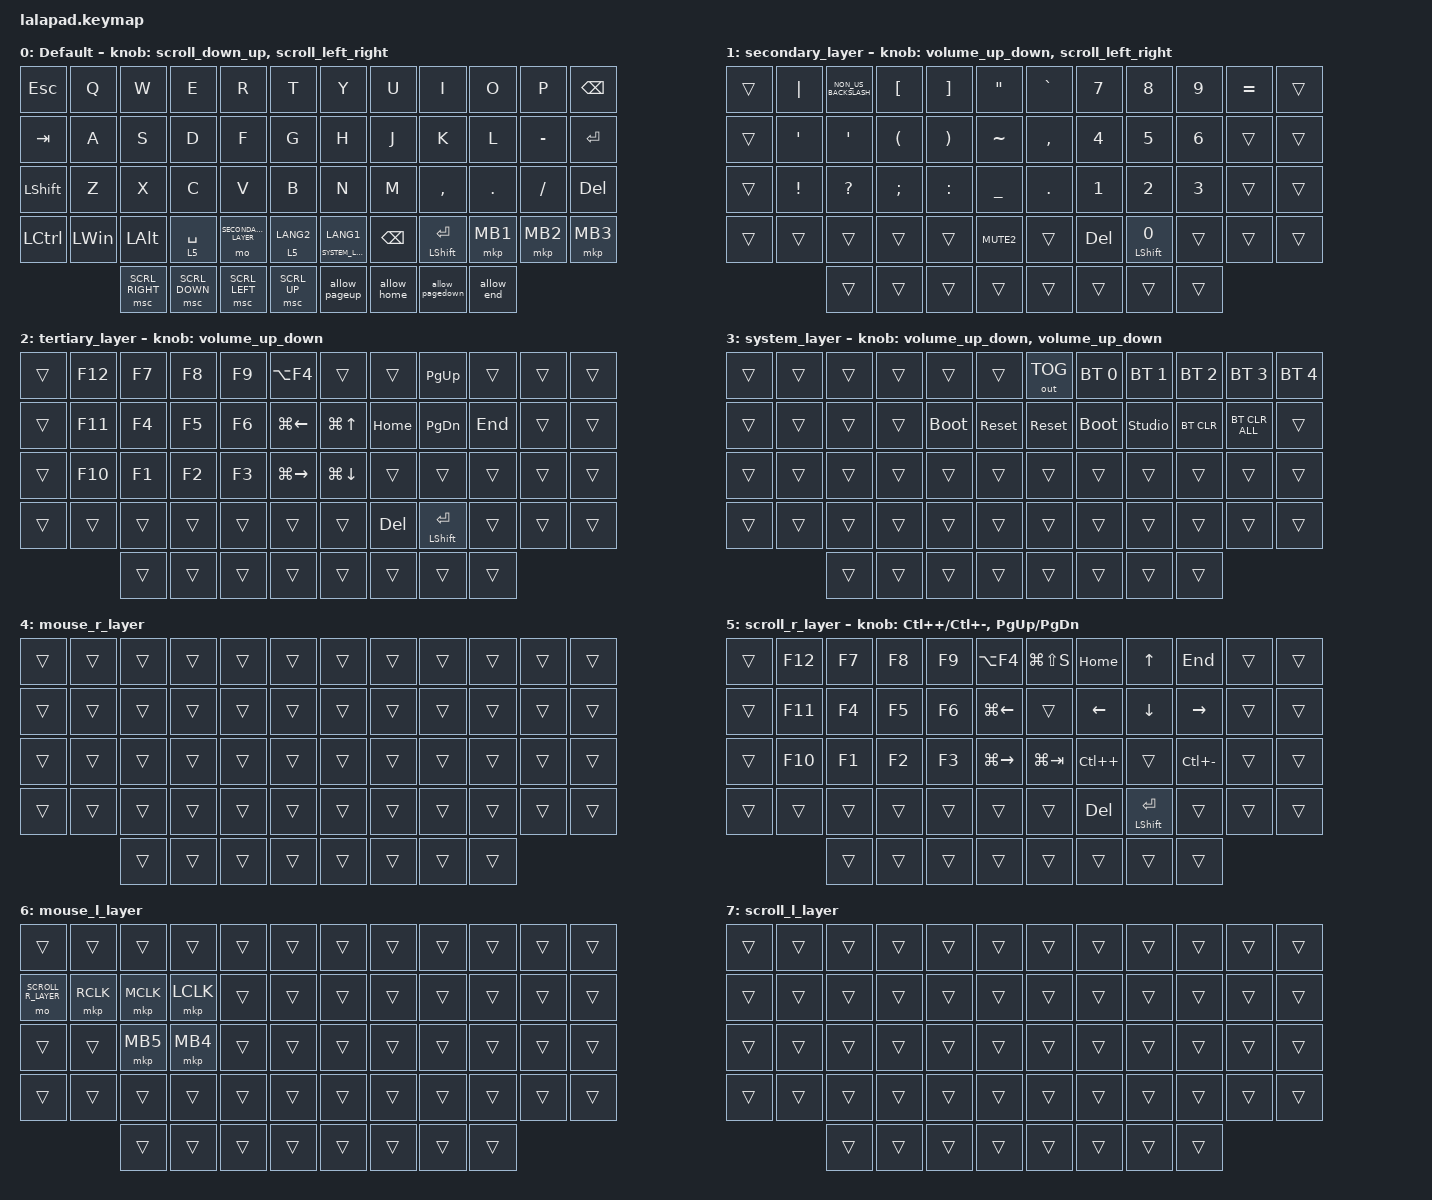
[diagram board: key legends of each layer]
#include <input/processors.dtsi>
#include <behaviors.dtsi>
#include <dt-bindings/zmk/bt.h>
#include <dt-bindings/zmk/keys.h>
#include <dt-bindings/zmk/outputs.h>
#include <dt-bindings/zmk/pointing.h>

#define DEFAULT_LAYER   0
#define SECONDARY_LAYER 1
#define TERTIARY_LAYER  2
#define SYSTEM_LAYER    3
#define MOUSE_R_LAYER   4
#define SCROLL_R_LAYER  5
#define MOUSE_L_LAYER   6
#define SCROLL_L_LAYER  7

// Mouse Scroll Value

#define ZMK_POINTING_DEFAULT_SCRL_VAL 100

// cirque trackpad input&layer control

&glidepoint_listener_R {
    input-processors =
        <&zip_xy_transform (INPUT_TRANSFORM_XY_SWAP | INPUT_TRANSFORM_X_INVERT | INPUT_TRANSFORM_Y_INVERT)>,
        <&zip_xy_scaler 3 2>,
        <&zip_temp_layer MOUSE_R_LAYER 500>;

    lowspeedmode {
        layers = <SECONDARY_LAYER>;
        input-processors =
            <&zip_xy_transform (INPUT_TRANSFORM_XY_SWAP | INPUT_TRANSFORM_X_INVERT | INPUT_TRANSFORM_Y_INVERT)>,
            <&zip_xy_scaler 3 5>,
            <&zip_temp_layer MOUSE_R_LAYER 500>;
    };

    scroller {
        layers = <SCROLL_R_LAYER>;
        input-processors =
            <&zip_xy_to_scroll_mapper>,
            <&zip_scroll_transform (INPUT_TRANSFORM_XY_SWAP | INPUT_TRANSFORM_Y_INVERT)>,
            <&zip_scroll_scaler 1 8>;
    };
};

&glidepoint_listener_L {
    input-processors =
        <&zip_xy_transform (INPUT_TRANSFORM_XY_SWAP | INPUT_TRANSFORM_X_INVERT | INPUT_TRANSFORM_Y_INVERT)>,
        <&zip_xy_scaler 3 2>,
        <&zip_temp_layer MOUSE_L_LAYER 500>;

    lowspeedmode {
        layers = <SECONDARY_LAYER>;
        input-processors =
            <&zip_xy_transform (INPUT_TRANSFORM_XY_SWAP | INPUT_TRANSFORM_X_INVERT | INPUT_TRANSFORM_Y_INVERT)>,
            <&zip_xy_scaler 3 4>,
            <&zip_temp_layer MOUSE_L_LAYER 500>;
    };

    scroller {
        layers = <SCROLL_L_LAYER>;
        input-processors =
            <&zip_xy_to_scroll_mapper>,
            <&zip_scroll_transform (INPUT_TRANSFORM_XY_SWAP | INPUT_TRANSFORM_Y_INVERT)>,
            <&zip_scroll_scaler 1 6>;
    };
};

/ {
    behaviors {
        // Encoder to Mouse Scroll

        scroll_up_down: behavior_sensor_rotate_mouse_wheel_up_down {
            compatible = "zmk,behavior-sensor-rotate";
            #sensor-binding-cells = <0>;
            bindings = <&msc SCRL_UP>, <&msc SCRL_DOWN>;

            tap-ms = <20>;
        };

        scroll_down_up: behavior_sensor_rotate_mouse_wheel_down_up {
            compatible = "zmk,behavior-sensor-rotate";
            #sensor-binding-cells = <0>;
            bindings = <&msc SCRL_DOWN>, <&msc SCRL_UP>;

            tap-ms = <20>;
        };

        scroll_left_right: behavior_sensor_rotate_mouse_wheel_left_right {
            compatible = "zmk,behavior-sensor-rotate";
            #sensor-binding-cells = <0>;
            bindings = <&msc SCRL_LEFT>, <&msc SCRL_RIGHT>;

            tap-ms = <20>;
        };

        scroll_right_left: behavior_sensor_rotate_mouse_wheel_right_left {
            compatible = "zmk,behavior-sensor-rotate";
            #sensor-binding-cells = <0>;
            bindings = <&msc SCRL_RIGHT>, <&msc SCRL_LEFT>;

            tap-ms = <20>;
        };

        volume_up_down: behavior_sensor_rotate_volume_up_down {
            compatible = "zmk,behavior-sensor-rotate";
            #sensor-binding-cells = <0>;
            bindings = <&kp C_VOLUME_UP>, <&kp C_VOLUME_DOWN>;

            tap-ms = <20>;
        };

        dot_comma: dot_comma {
            compatible = "zmk,behavior-mod-morph";
            #binding-cells = <0>;
            bindings = <&kp KP_DOT>, <&kp COMMA>;

            mods = <(MOD_LSFT|MOD_RSFT)>;
            label = "DOT_COMMA";
        };

        pls_minus: pls_minus {
            compatible = "zmk,behavior-mod-morph";
            #binding-cells = <0>;
            bindings = <&kp PLUS>, <&kp MINUS>;

            mods = <(MOD_LSFT|MOD_RSFT)>;
            label = "PLS_MINUS";
        };

        allow_pageup: allow_pageup {
            compatible = "zmk,behavior-mod-morph";
            #binding-cells = <0>;
            bindings = <&kp UP>, <&kp PAGE_UP>;

            mods = <(MOD_LCTL|MOD_RCTL)>;
            label = "ALLOW_PAGEUP";
        };

        allow_pagedown: allow_pagedown {
            compatible = "zmk,behavior-mod-morph";
            #binding-cells = <0>;
            bindings = <&kp DOWN>, <&kp PAGE_DOWN>;

            mods = <(MOD_LCTL|MOD_RCTL)>;
            label = "ALLOW_PAGEDOWN";
        };

        allow_home: allow_home {
            compatible = "zmk,behavior-mod-morph";
            #binding-cells = <0>;
            bindings = <&kp LEFT>, <&kp HOME>;

            mods = <(MOD_LCTL|MOD_RCTL)>;
            label = "ALLOW_HOME";
        };

        allow_end: allow_end {
            compatible = "zmk,behavior-mod-morph";
            #binding-cells = <0>;
            bindings = <&kp RIGHT>, <&kp END>;

            mods = <(MOD_LCTL|MOD_RCTL)>;
            label = "ALLOW_END";
        };

        mt2: mod_tap2 {
            compatible = "zmk,behavior-hold-tap";
            #binding-cells = <2>;
            flavor = "tap-preferred";
            tapping-term-ms = <200>;
            quick-tap-ms = <200>;
            require-prior-idle-ms = <125>;
            bindings = <&kp>, <&kp>;
        };
    };

    combos {
        compatible = "zmk,combos";

        migi {
            bindings = <&mkp LCLK>;
            key-positions = <20 19>;
        };

        mmi {
            bindings = <&mkp RCLK>;
            key-positions = <21 20>;
        };

        naka {
            bindings = <&mkp MCLK>;
            key-positions = <20 21 19>;
        };
    };

    keymap {
        compatible = "zmk,keymap";

        DEFAULT_LAYER {
            display-name = "Default";
            sensor-bindings = <&scroll_down_up>, <&scroll_left_right>;

            bindings = <
&kp ESC    &kp Q         &kp W            &kp E           &kp R                &kp T         &kp Y                   &kp U          &kp I                 &kp O       &kp P      &kp BACKSPACE
&kp TAB    &kp A         &kp S            &kp D           &kp F                &kp G         &kp H                   &kp J          &kp K                 &kp L       &kp MINUS  &kp ENTER
&kp LSHFT  &kp Z         &kp X            &kp C           &kp V                &kp B         &kp N                   &kp M          &kp COMMA             &kp PERIOD  &kp SLASH  &kp DEL
&kp LCTRL  &kp LEFT_WIN  &kp LEFT_ALT     &lt 5 SPACE     &mo SECONDARY_LAYER  &lt 5 LANG2   &lt SYSTEM_LAYER LANG1  &kp BACKSPACE  &mt LEFT_SHIFT ENTER  &mkp MB1    &mkp MB2   &mkp MB3
                         &msc SCRL_RIGHT  &msc SCRL_DOWN  &msc SCRL_LEFT       &msc SCRL_UP  &allow_pageup           &allow_home    &allow_pagedown       &allow_end
            >;
        };

        SECONDARY_LAYER {
            display-name = "secondary_layer";
            sensor-bindings = <&volume_up_down>, <&scroll_left_right>;

            bindings = <
&trans  &kp PIPE         &kp NON_US_BACKSLASH  &kp LEFT_BRACKET      &kp RIGHT_BRACKET      &kp DOUBLE_QUOTES  &kp GRAVE   &kp N7        &kp N8             &kp N9        &kp EQUAL  &trans
&trans  &kp SQT          &kp SQT               &kp LEFT_PARENTHESIS  &kp RIGHT_PARENTHESIS  &kp TILDE          &kp COMMA   &kp NUMBER_4  &kp N5             &kp NUMBER_6  &trans     &trans
&trans  &kp EXCLAMATION  &kp QUESTION          &kp SEMICOLON         &kp COLON              &kp UNDERSCORE     &kp PERIOD  &kp NUMBER_1  &kp NUMBER_2       &kp NUMBER_3  &trans     &trans
&trans  &trans           &trans                &trans                &trans                 &kp K_MUTE2        &trans      &kp DELETE    &mt LEFT_SHIFT N0  &trans        &trans     &trans
                         &trans                &trans                &trans                 &trans             &trans      &trans        &trans             &trans
            >;
        };

        TERTIARY_LAYER {
            display-name = "tertiary_layer";
            bindings = <
&trans  &kp F12  &kp F7  &kp F8  &kp F9  &kp LA(F4)           &trans              &trans      &kp PAGE_UP           &trans   &trans  &trans
&trans  &kp F11  &kp F4  &kp F5  &kp F6  &kp LG(LEFT_ARROW)   &kp LG(UP_ARROW)    &kp HOME    &kp PAGE_DOWN         &kp END  &trans  &trans
&trans  &kp F10  &kp F1  &kp F2  &kp F3  &kp LG(RIGHT_ARROW)  &kp LG(DOWN_ARROW)  &trans      &trans                &trans   &trans  &trans
&trans  &trans   &trans  &trans  &trans  &trans               &trans              &kp DELETE  &mt LEFT_SHIFT ENTER  &trans   &trans  &trans
                 &trans  &trans  &trans  &trans               &trans              &trans      &trans                &trans
            >;

            sensor-bindings = <&volume_up_down>;
        };

        SYSTEM_LAYER {
            display-name = "system_layer";
            sensor-bindings = <&volume_up_down>, <&volume_up_down>;

            bindings = <
&trans  &trans  &trans  &trans  &trans       &trans      &out OUT_TOG  &bt BT_SEL 0  &bt BT_SEL 1    &bt BT_SEL 2  &bt BT_SEL 3    &bt BT_SEL 4
&trans  &trans  &trans  &trans  &bootloader  &sys_reset  &sys_reset    &bootloader   &studio_unlock  &bt BT_CLR    &bt BT_CLR_ALL  &trans
&trans  &trans  &trans  &trans  &trans       &trans      &trans        &trans        &trans          &trans        &trans          &trans
&trans  &trans  &trans  &trans  &trans       &trans      &trans        &trans        &trans          &trans        &trans          &trans
                &trans  &trans  &trans       &trans      &trans        &trans        &trans          &trans
            >;
        };

        MOUSE_R_LAYER {
            display-name = "mouse_r_layer";
            bindings = <
&trans  &trans  &trans  &trans  &trans  &trans  &trans  &trans  &trans  &trans  &trans  &trans
&trans  &trans  &trans  &trans  &trans  &trans  &trans  &trans  &trans  &trans  &trans  &trans
&trans  &trans  &trans  &trans  &trans  &trans  &trans  &trans  &trans  &trans  &trans  &trans
&trans  &trans  &trans  &trans  &trans  &trans  &trans  &trans  &trans  &trans  &trans  &trans
                &trans  &trans  &trans  &trans  &trans  &trans  &trans  &trans
            >;
        };

        SCROLL_R_LAYER {
            display-name = "scroll_r_layer";
            bindings = <
&trans  &kp F12  &kp F7  &kp F8  &kp F9  &kp LA(F4)           &kp LG(LS(S))  &kp HOME        &kp UP_ARROW          &kp END          &trans  &trans
&trans  &kp F11  &kp F4  &kp F5  &kp F6  &kp LG(LEFT_ARROW)   &trans         &kp LEFT_ARROW  &kp DOWN_ARROW        &kp RIGHT_ARROW  &trans  &trans
&trans  &kp F10  &kp F1  &kp F2  &kp F3  &kp LG(RIGHT_ARROW)  &kp LG(TAB)    &kp LC(PLUS)    &trans                &kp LC(MINUS)    &trans  &trans
&trans  &trans   &trans  &trans  &trans  &trans               &trans         &kp DELETE      &mt LEFT_SHIFT ENTER  &trans           &trans  &trans
                 &trans  &trans  &trans  &trans               &trans         &trans          &trans                &trans
            >;

            sensor-bindings =
                <&inc_dec_kp LC(PLUS) LC(MINUS)>,
                <&inc_dec_kp PG_UP PAGE_DOWN>;
        };

        MOUSE_L_LAYER {
            display-name = "mouse_l_layer";
            bindings = <
&trans              &trans     &trans     &trans     &trans  &trans  &trans  &trans  &trans  &trans  &trans  &trans
&mo SCROLL_R_LAYER  &mkp RCLK  &mkp MCLK  &mkp LCLK  &trans  &trans  &trans  &trans  &trans  &trans  &trans  &trans
&trans              &trans     &mkp MB5   &mkp MB4   &trans  &trans  &trans  &trans  &trans  &trans  &trans  &trans
&trans              &trans     &trans     &trans     &trans  &trans  &trans  &trans  &trans  &trans  &trans  &trans
                               &trans     &trans     &trans  &trans  &trans  &trans  &trans  &trans
            >;
        };

        SCROLL_L_LAYER {
            display-name = "scroll_l_layer";
            bindings = <
&trans  &trans  &trans  &trans  &trans  &trans  &trans  &trans  &trans  &trans  &trans  &trans
&trans  &trans  &trans  &trans  &trans  &trans  &trans  &trans  &trans  &trans  &trans  &trans
&trans  &trans  &trans  &trans  &trans  &trans  &trans  &trans  &trans  &trans  &trans  &trans
&trans  &trans  &trans  &trans  &trans  &trans  &trans  &trans  &trans  &trans  &trans  &trans
                &trans  &trans  &trans  &trans  &trans  &trans  &trans  &trans
            >;
        };
    };
};
